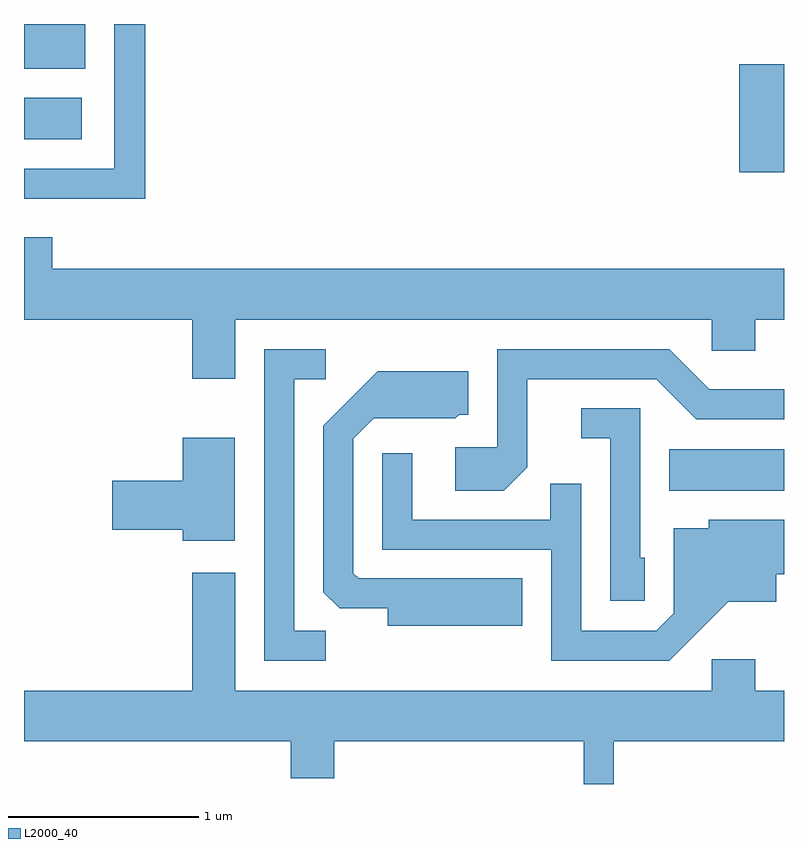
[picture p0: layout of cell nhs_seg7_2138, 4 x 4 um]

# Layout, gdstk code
import gdstk
lib = gdstk.Library(unit=1e-6, precision=1e-09)
def R(c, l, rs):  # rectangles x0, y0, x1, y1
    for r in rs: c.add(gdstk.rectangle(r[:2], r[2:], *l))
def P(c, l, *ps):  # polygons
    for p in ps: c.add(gdstk.Polygon(p, *l))
L2000_40 = (2000, 40)

nhs_seg7_2138 = lib.new_cell('nhs_seg7_2138')
R(nhs_seg7_2138, L2000_40, [(253.006,1777.796,253.611,1778.014), (253.376,1779.471,253.611,1780.039), (249.611,1779.646,249.914,1779.864), (249.611,1780.016,249.934,1780.252)])
P(nhs_seg7_2138, L2000_40, [(250.249,1780.252),(250.086,1780.252),(250.086,1779.489),(249.611,1779.489),(249.611,1779.331),(250.249,1779.331)],
  [(249.759,1779.129),(249.611,1779.129),(249.611,1778.696),(250.496,1778.696),(250.496,1778.386),(250.724,1778.386),(250.724,1778.696),(253.231,1778.696),(253.231,1778.531),(253.459,1778.531),(253.459,1778.696),(253.611,1778.696),(253.611,1778.964),(249.759,1778.964)],
  [(251.198,1777.059),(251.034,1777.059),(251.034,1778.381),(251.198,1778.381),(251.198,1778.539),(250.876,1778.539),(250.876,1776.901),(251.198,1776.901)],
  [(252.259,1777.919),(252.259,1778.381),(252.939,1778.381),(253.149,1778.171),(253.611,1778.171),(253.611,1778.329),(253.217,1778.329),(253.007,1778.539),(252.101,1778.539),(252.101,1778.024),(251.881,1778.024),(251.881,1777.796),(252.137,1777.796)],
  [(252.234,1777.334),(251.372,1777.334),(251.344,1777.362),(251.344,1778.069),(251.452,1778.176),(251.882,1778.176),(251.902,1778.196),(251.949,1778.196),(251.949,1778.424),(251.474,1778.424),(251.186,1778.137),(251.186,1777.262),(251.272,1777.176),(251.526,1777.176),(251.526,1777.086),(252.234,1777.086)],
  [(252.879,1777.444),(252.854,1777.444),(252.854,1778.229),(252.543,1778.229),(252.543,1778.071),(252.696,1778.071),(252.696,1777.216),(252.879,1777.216)],
  [(250.719,1778.074),(250.446,1778.074),(250.446,1777.849),(250.076,1777.849),(250.076,1777.591),(250.446,1777.591),(250.446,1777.531),(250.719,1777.531)],
  [(253.317,1777.211),(253.569,1777.211),(253.569,1777.356),(253.611,1777.356),(253.611,1777.644),(253.216,1777.644),(253.216,1777.599),(253.031,1777.599),(253.031,1777.152),(252.939,1777.059),(252.544,1777.059),(252.544,1777.833),(252.381,1777.833),(252.381,1777.644),(251.654,1777.644),(251.654,1777.993),(251.496,1777.993),(251.496,1777.486),(252.386,1777.486),(252.386,1776.901),(253.007,1776.901)],
  [(252.714,1776.476),(253.611,1776.476),(253.611,1776.744),(253.459,1776.744),(253.459,1776.909),(253.231,1776.909),(253.231,1776.744),(250.724,1776.744),(250.724,1777.364),(250.496,1777.364),(250.496,1776.744),(249.611,1776.744),(249.611,1776.476),(251.016,1776.476),(251.016,1776.281),(251.244,1776.281),(251.244,1776.476),(252.556,1776.476),(252.556,1776.252),(252.714,1776.252)])

lib.write_gds('nhs_seg7_2138.gds')
